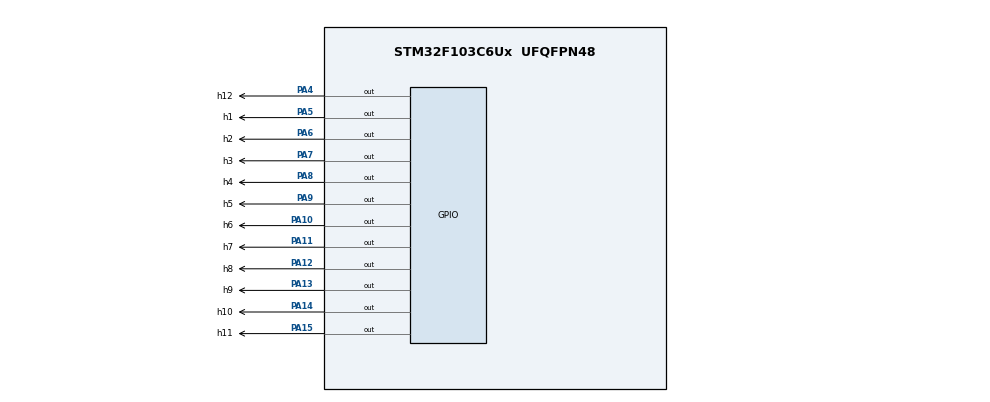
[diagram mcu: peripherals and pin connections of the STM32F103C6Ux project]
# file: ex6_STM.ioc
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Mcu.Family=STM32F1
Mcu.Name=STM32F103C6Ux
Mcu.Package=UFQFPN48
NVIC.PriorityGroup=NVIC_PRIORITYGROUP_4
PA10.GPIO_Label=h6
PA10.Signal=GPIO_Output
PA11.GPIO_Label=h7
PA11.Signal=GPIO_Output
PA12.GPIO_Label=h8
PA12.Signal=GPIO_Output
PA13.GPIO_Label=h9
PA13.Signal=GPIO_Output
PA14.GPIO_Label=h10
PA14.Signal=GPIO_Output
PA15.GPIO_Label=h11
PA15.Signal=GPIO_Output
PA4.GPIO_Label=h12
PA4.Signal=GPIO_Output
PA5.GPIO_Label=h1
PA5.Signal=GPIO_Output
PA6.GPIO_Label=h2
PA6.Signal=GPIO_Output
PA7.GPIO_Label=h3
PA7.Signal=GPIO_Output
PA8.GPIO_Label=h4
PA8.Signal=GPIO_Output
PA9.GPIO_Label=h5
PA9.Signal=GPIO_Output
ProjectManager.HeapSize=0x200
ProjectManager.StackSize=0x400
ProjectManager.TargetToolchain=STM32CubeIDE
RCC.APB1Freq_Value=8000000
RCC.APB2Freq_Value=8000000
VP_SYS_VS_ND.Mode=No_Debug
board=custom

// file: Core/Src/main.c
/* USER CODE BEGIN Header */
/**
  ******************************************************************************
  * @file           : main.c
  * @brief          : Main program body
  ******************************************************************************
  * @attention
  *
  * <h2><center>&copy; Copyright (c) 2022 STMicroelectronics.
  * All rights reserved.</center></h2>
  *
  * This software component is licensed by ST under BSD 3-Clause license,
  * the "License"; You may not use this file except in compliance with the
  * License. You may obtain a copy of the License at:
  *                        opensource.org/licenses/BSD-3-Clause
  *
  ******************************************************************************
  */
/* USER CODE END Header */
#include "main.h"

void SystemClock_Config(void);
static void MX_GPIO_Init(void);

int main(void)
{

  /* MCU Configuration--------------------------------------------------------*/

  /* Reset of all peripherals, Initializes the Flash interface and the Systick. */
  HAL_Init();

  /* Configure the system clock */
  SystemClock_Config();

  /* Initialize all configured peripherals */
  MX_GPIO_Init();

  /* Infinite loop */
  /* USER CODE BEGIN WHILE */
  int i = 1;
  while (1)
  {
	  switch(i){
	  	  	  case 1:
	  	  		  HAL_GPIO_WritePin(GPIOA, h12_Pin|h1_Pin|h2_Pin|h3_Pin
	  	  		                          |h4_Pin|h5_Pin|h6_Pin|h7_Pin
	  	  		                          |h8_Pin|h9_Pin|h10_Pin|h11_Pin, GPIO_PIN_SET);
	  	  		  HAL_GPIO_WritePin(h12_GPIO_Port, h12_Pin, RESET);
	  	  		  i=2;
	  	  		  break;
	  	  	  case 2:
	  	  		  HAL_GPIO_WritePin(h1_GPIO_Port, h1_Pin, RESET);
	  	  		  i=3;
	  	  		  break;
	  	  	  case 3:
	  	  		  HAL_GPIO_WritePin(h2_GPIO_Port, h2_Pin, RESET);
	  	  		  i=4;
	  	  		  break;
	  	  	  case 4:
	  	  		  HAL_GPIO_TogglePin(h3_GPIO_Port, h3_Pin);
	  	  		  HAL_GPIO_WritePin(h3_GPIO_Port, h3_Pin, RESET);
	  	  		  i=5;
	  	  		  break;
	  	  	  case 5:
	  	  		  HAL_GPIO_WritePin(h4_GPIO_Port, h4_Pin, RESET);
	  	  		  i=6;
	  	  		  break;
	  	  	  case 6:
	  	  		  HAL_GPIO_WritePin(h5_GPIO_Port, h5_Pin, RESET);
	  	  		  i=7;
	  	  		  break;
	  	  	  case 7:
	  	  		  HAL_GPIO_WritePin(h6_GPIO_Port, h6_Pin, RESET);
	  	  		  i=8;
	  	  		  break;
	  	  	  case 8:
	  	  		  HAL_GPIO_WritePin(h7_GPIO_Port, h7_Pin, RESET);
	  	  		  i=9;
	  	  		  break;
	  	  	  case 9:
	  	  		  HAL_GPIO_WritePin(h8_GPIO_Port, h8_Pin, RESET);
	  	  		  i=10;
	  	  		  break;
	  	  	  case 10:
	  	  		  HAL_GPIO_WritePin(h9_GPIO_Port, h9_Pin, RESET);
	  	  		  i=11;
	  	  		  break;
	  	  	  case 11:
	  	  		  HAL_GPIO_WritePin(h10_GPIO_Port, h10_Pin, RESET);
	  	  		  i=12;
	  	  		  break;
	  	  	  case 12:
	  	  		  HAL_GPIO_WritePin(h11_GPIO_Port, h11_Pin, RESET);
	  	  		  i=1;
	  	  		  break;
	  	  }
	  HAL_Delay(100);

    /* USER CODE END WHILE */

  }
}

void SystemClock_Config(void)
{
  RCC_OscInitTypeDef RCC_OscInitStruct = {0};
  RCC_ClkInitTypeDef RCC_ClkInitStruct = {0};

  /** Initializes the RCC Oscillators according to the specified parameters
  * in the RCC_OscInitTypeDef structure.
  */
  RCC_OscInitStruct.OscillatorType = RCC_OSCILLATORTYPE_HSI;
  RCC_OscInitStruct.HSIState = RCC_HSI_ON;
  RCC_OscInitStruct.HSICalibrationValue = RCC_HSICALIBRATION_DEFAULT;
  RCC_OscInitStruct.PLL.PLLState = RCC_PLL_NONE;
  if (HAL_RCC_OscConfig(&RCC_OscInitStruct) != HAL_OK)
  {
    Error_Handler();
  }
  /** Initializes the CPU, AHB and APB buses clocks
  */
  RCC_ClkInitStruct.ClockType = RCC_CLOCKTYPE_HCLK|RCC_CLOCKTYPE_SYSCLK
                              |RCC_CLOCKTYPE_PCLK1|RCC_CLOCKTYPE_PCLK2;
  RCC_ClkInitStruct.SYSCLKSource = RCC_SYSCLKSOURCE_HSI;
  RCC_ClkInitStruct.AHBCLKDivider = RCC_SYSCLK_DIV1;
  RCC_ClkInitStruct.APB1CLKDivider = RCC_HCLK_DIV1;
  RCC_ClkInitStruct.APB2CLKDivider = RCC_HCLK_DIV1;

  if (HAL_RCC_ClockConfig(&RCC_ClkInitStruct, FLASH_LATENCY_0) != HAL_OK)
  {
    Error_Handler();
  }
}

static void MX_GPIO_Init(void)
{
  GPIO_InitTypeDef GPIO_InitStruct = {0};

  /* GPIO Ports Clock Enable */
  __HAL_RCC_GPIOA_CLK_ENABLE();

  /*Configure GPIO pin Output Level */
  HAL_GPIO_WritePin(GPIOA, h12_Pin|h1_Pin|h2_Pin|h3_Pin
                          |h4_Pin|h5_Pin|h6_Pin|h7_Pin
                          |h8_Pin|h9_Pin|h10_Pin|h11_Pin, GPIO_PIN_RESET);

  /*Configure GPIO pins : h12_Pin h1_Pin h2_Pin h3_Pin
                           h4_Pin h5_Pin h6_Pin h7_Pin
                           h8_Pin h9_Pin h10_Pin h11_Pin */
  GPIO_InitStruct.Pin = h12_Pin|h1_Pin|h2_Pin|h3_Pin
                          |h4_Pin|h5_Pin|h6_Pin|h7_Pin
                          |h8_Pin|h9_Pin|h10_Pin|h11_Pin;
  GPIO_InitStruct.Mode = GPIO_MODE_OUTPUT_PP;
  GPIO_InitStruct.Pull = GPIO_NOPULL;
  GPIO_InitStruct.Speed = GPIO_SPEED_FREQ_LOW;
  HAL_GPIO_Init(GPIOA, &GPIO_InitStruct);

}

void Error_Handler(void)
{
  __disable_irq();
  while (1)
  {
  }
}

/************************ (C) COPYRIGHT STMicroelectronics *****END OF FILE****/
